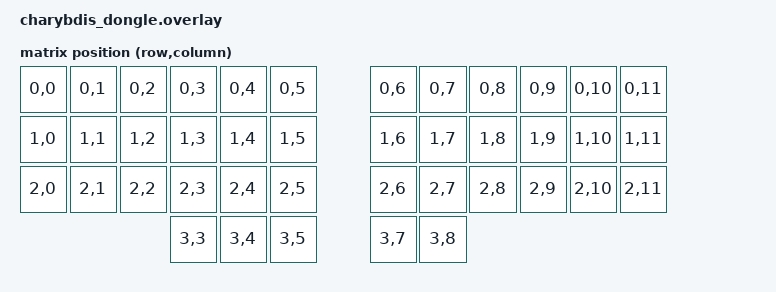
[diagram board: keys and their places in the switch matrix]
// Documentation: https://zmk.dev/docs/development/hardware-integration/dongle
#include <dt-bindings/zmk/matrix_transform.h>
#include "charybdis-layouts.dtsi"
#include "charybdis_pmw3610.dtsi"
#include "charybdis_pointer.dtsi"

&pinctrl {
    i2c1_default: i2c1_default {
        group1 {
            psels = <NRF_PSEL(TWIM_SDA, 0, 4)>,
                    <NRF_PSEL(TWIM_SCL, 0, 5)>;
        };
    };

    i2c1_sleep: i2c1_sleep {
        group1 {
            psels = <NRF_PSEL(TWIM_SDA, 0, 4)>,
                    <NRF_PSEL(TWIM_SCL, 0, 5)>;
            low-power-enable;
        };
    };
};

&i2c0 {
    status = "disabled";
};

&i2c1 {
    status = "okay";
    compatible = "nordic,nrf-twim";
    pinctrl-0 = <&i2c1_default>;
    pinctrl-1 = <&i2c1_sleep>;
    pinctrl-names = "default", "sleep";
};

&spi1 {
    status = "disabled";
};

&uart0 {
    status = "disabled";
};

&charybdis_physical_layout {
    transform = <&default_transform>;
};

&trackball_split {
  status = "okay";
};

/* enable the listener on central */
&trackball_listener {
  status = "okay";
};

/ {
    chosen {
        zmk,kscan           = &kscan0;
        zmk,physical-layout = &charybdis_physical_layout;
        zmk,input-device    = &trackball_split;
    };

    kscan0: kscan_1 {
        compatible = "zmk,kscan-mock";
        columns    = <0>;
        rows       = <0>;
        events     = <0>;
    };

    default_transform: keymap_transform_0 {
        compatible = "zmk,matrix-transform";
        columns = <12>;
        rows = <4>;

        map = <
	RC(0,0) RC(0,1) RC(0,2) RC(0,3) RC(0,4) RC(0,5)            RC(0,6) RC(0,7) RC(0,8) RC(0,9) RC(0,10) RC(0,11)
	RC(1,0) RC(1,1) RC(1,2) RC(1,3) RC(1,4) RC(1,5)            RC(1,6) RC(1,7) RC(1,8) RC(1,9) RC(1,10) RC(1,11)
	RC(2,0) RC(2,1) RC(2,2) RC(2,3) RC(2,4) RC(2,5)            RC(2,6) RC(2,7) RC(2,8) RC(2,9) RC(2,10) RC(2,11)
							RC(3,3) RC(3,4) RC(3,5)            RC(3,7)  RC(3,8)
        >;
    };

    central: bt_central {
        compatible = "zmk,ble-central";
        peripherals = <&left_peripheral &right_peripheral>;
    };

    left_peripheral: bt_left {
        compatible = "zmk,ble-peripheral";
        local-name = "charybdis_left";
    };

    right_peripheral: bt_right {
        compatible = "zmk,ble-peripheral";
        local-name = "charybdis_right";
    };
};
